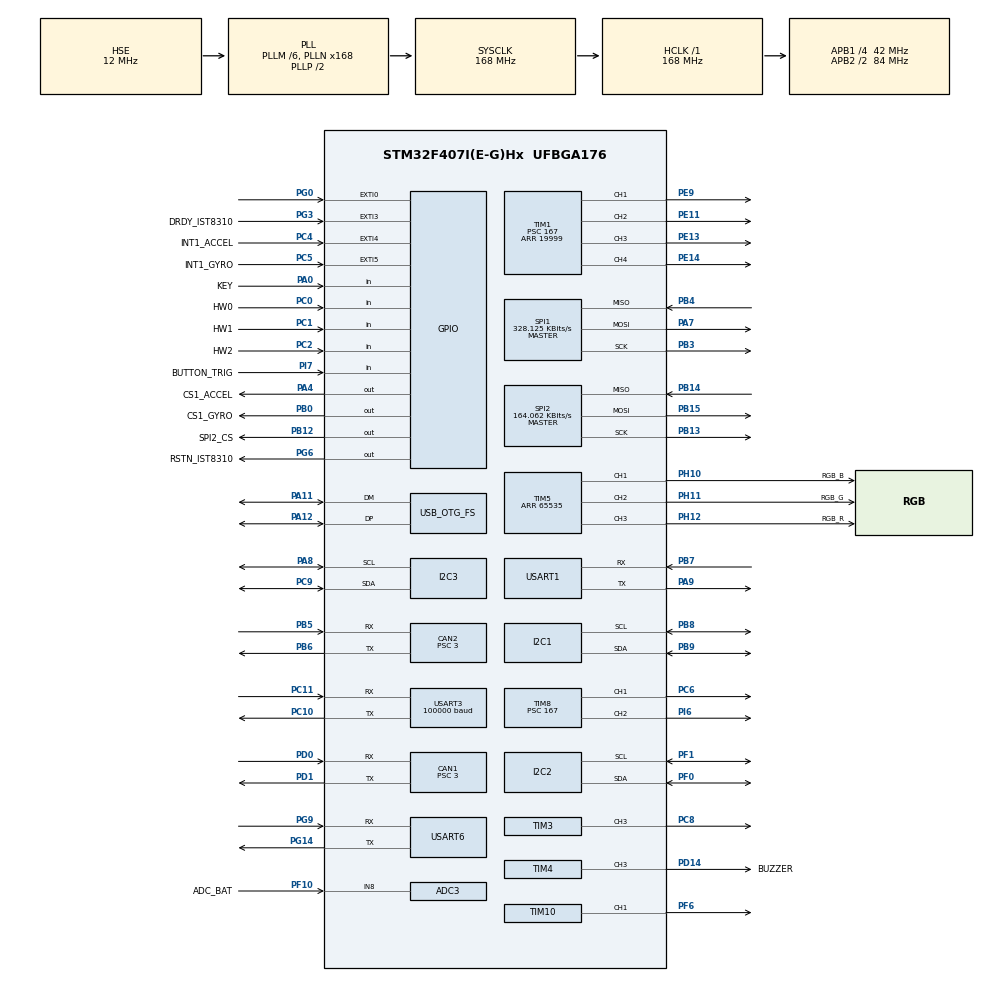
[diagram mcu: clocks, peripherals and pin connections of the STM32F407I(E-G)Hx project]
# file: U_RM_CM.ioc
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ADC1.Channel-0\#ChannelRegularConversion=ADC_CHANNEL_VREFINT
ADC1.ClockPrescaler=ADC_CLOCK_SYNC_PCLK_DIV6
ADC1.NbrOfConversionFlag=1
ADC1.Rank-0\#ChannelRegularConversion=1
ADC1.SamplingTime-0\#ChannelRegularConversion=ADC_SAMPLETIME_3CYCLES
ADC1.master=1
ADC3.Channel-0\#ChannelRegularConversion=ADC_CHANNEL_8
ADC3.ClockPrescaler=ADC_CLOCK_SYNC_PCLK_DIV6
ADC3.NbrOfConversionFlag=1
ADC3.Rank-0\#ChannelRegularConversion=1
ADC3.SamplingTime-0\#ChannelRegularConversion=ADC_SAMPLETIME_3CYCLES
CAN1.BS1=CAN_BS1_10TQ
CAN1.BS2=CAN_BS2_3TQ
CAN1.CalculateBaudRate=1000000
CAN1.CalculateTimeBit=1000
CAN1.CalculateTimeQuantum=71.42857142857143
CAN1.NART=ENABLE
CAN1.Prescaler=3
CAN2.BS1=CAN_BS1_10TQ
CAN2.BS2=CAN_BS2_3TQ
CAN2.CalculateBaudRate=1000000
CAN2.CalculateTimeBit=1000
CAN2.CalculateTimeQuantum=71.42857142857143
CAN2.NART=ENABLE
CAN2.Prescaler=3
Dma.I2C2_TX.2.Direction=DMA_MEMORY_TO_PERIPH
Dma.I2C2_TX.2.FIFOMode=DMA_FIFOMODE_DISABLE
Dma.I2C2_TX.2.Instance=DMA1_Stream7
Dma.I2C2_TX.2.MemDataAlignment=DMA_MDATAALIGN_BYTE
Dma.I2C2_TX.2.MemInc=DMA_MINC_ENABLE
Dma.I2C2_TX.2.Mode=DMA_NORMAL
Dma.I2C2_TX.2.PeriphDataAlignment=DMA_PDATAALIGN_BYTE
Dma.I2C2_TX.2.PeriphInc=DMA_PINC_DISABLE
Dma.I2C2_TX.2.Priority=DMA_PRIORITY_HIGH
Dma.Request0=SPI1_RX
Dma.Request1=SPI1_TX
Dma.Request2=I2C2_TX
Dma.Request3=USART1_TX
Dma.Request4=USART3_RX
Dma.Request5=USART6_RX
Dma.Request6=USART6_TX
Dma.SPI1_RX.0.Direction=DMA_PERIPH_TO_MEMORY
Dma.SPI1_RX.0.FIFOMode=DMA_FIFOMODE_DISABLE
Dma.SPI1_RX.0.Instance=DMA2_Stream2
Dma.SPI1_RX.0.MemDataAlignment=DMA_MDATAALIGN_BYTE
Dma.SPI1_RX.0.MemInc=DMA_MINC_ENABLE
Dma.SPI1_RX.0.Mode=DMA_NORMAL
Dma.SPI1_RX.0.PeriphDataAlignment=DMA_PDATAALIGN_BYTE
Dma.SPI1_RX.0.PeriphInc=DMA_PINC_DISABLE
Dma.SPI1_RX.0.Priority=DMA_PRIORITY_VERY_HIGH
Dma.SPI1_TX.1.Direction=DMA_MEMORY_TO_PERIPH
Dma.SPI1_TX.1.FIFOMode=DMA_FIFOMODE_DISABLE
Dma.SPI1_TX.1.Instance=DMA2_Stream3
Dma.SPI1_TX.1.MemDataAlignment=DMA_MDATAALIGN_BYTE
Dma.SPI1_TX.1.MemInc=DMA_MINC_ENABLE
Dma.SPI1_TX.1.Mode=DMA_NORMAL
Dma.SPI1_TX.1.PeriphDataAlignment=DMA_PDATAALIGN_BYTE
Dma.SPI1_TX.1.PeriphInc=DMA_PINC_DISABLE
Dma.SPI1_TX.1.Priority=DMA_PRIORITY_HIGH
Dma.USART1_TX.3.Direction=DMA_MEMORY_TO_PERIPH
Dma.USART1_TX.3.FIFOMode=DMA_FIFOMODE_DISABLE
Dma.USART1_TX.3.Instance=DMA2_Stream7
Dma.USART1_TX.3.MemDataAlignment=DMA_MDATAALIGN_BYTE
Dma.USART1_TX.3.MemInc=DMA_MINC_ENABLE
Dma.USART1_TX.3.Mode=DMA_NORMAL
Dma.USART1_TX.3.PeriphDataAlignment=DMA_PDATAALIGN_BYTE
Dma.USART1_TX.3.PeriphInc=DMA_PINC_DISABLE
Dma.USART1_TX.3.Priority=DMA_PRIORITY_MEDIUM
Dma.USART3_RX.4.Direction=DMA_PERIPH_TO_MEMORY
Dma.USART3_RX.4.FIFOMode=DMA_FIFOMODE_DISABLE
Dma.USART3_RX.4.Instance=DMA1_Stream1
Dma.USART3_RX.4.MemDataAlignment=DMA_MDATAALIGN_BYTE
Dma.USART3_RX.4.MemInc=DMA_MINC_ENABLE
Dma.USART3_RX.4.Mode=DMA_NORMAL
Dma.USART3_RX.4.PeriphDataAlignment=DMA_PDATAALIGN_BYTE
Dma.USART3_RX.4.PeriphInc=DMA_PINC_DISABLE
Dma.USART3_RX.4.Priority=DMA_PRIORITY_HIGH
Dma.USART6_RX.5.Direction=DMA_PERIPH_TO_MEMORY
Dma.USART6_RX.5.FIFOMode=DMA_FIFOMODE_DISABLE
Dma.USART6_RX.5.Instance=DMA2_Stream1
Dma.USART6_RX.5.MemDataAlignment=DMA_MDATAALIGN_BYTE
Dma.USART6_RX.5.MemInc=DMA_MINC_ENABLE
Dma.USART6_RX.5.Mode=DMA_NORMAL
Dma.USART6_RX.5.PeriphDataAlignment=DMA_PDATAALIGN_BYTE
Dma.USART6_RX.5.PeriphInc=DMA_PINC_DISABLE
Dma.USART6_RX.5.Priority=DMA_PRIORITY_HIGH
Dma.USART6_TX.6.Direction=DMA_MEMORY_TO_PERIPH
Dma.USART6_TX.6.FIFOMode=DMA_FIFOMODE_DISABLE
Dma.USART6_TX.6.Instance=DMA2_Stream6
Dma.USART6_TX.6.MemDataAlignment=DMA_MDATAALIGN_BYTE
Dma.USART6_TX.6.MemInc=DMA_MINC_ENABLE
Dma.USART6_TX.6.Mode=DMA_NORMAL
Dma.USART6_TX.6.PeriphDataAlignment=DMA_PDATAALIGN_BYTE
Dma.USART6_TX.6.PeriphInc=DMA_PINC_DISABLE
Dma.USART6_TX.6.Priority=DMA_PRIORITY_MEDIUM
FREERTOS.INCLUDE_eTaskGetState=1
FREERTOS.INCLUDE_pcTaskGetTaskName=1
FREERTOS.INCLUDE_uxTaskGetStackHighWaterMark=1
FREERTOS.INCLUDE_uxTaskGetStackHighWaterMark2=0
FREERTOS.INCLUDE_vTaskCleanUpResources=1
FREERTOS.INCLUDE_vTaskDelayUntil=1
FREERTOS.INCLUDE_xEventGroupSetBitFromISR=1
FREERTOS.INCLUDE_xQueueGetMutexHolder=1
FREERTOS.INCLUDE_xSemaphoreGetMutexHolder=1
FREERTOS.INCLUDE_xTaskAbortDelay=1
FREERTOS.INCLUDE_xTaskGetCurrentTaskHandle=1
FREERTOS.INCLUDE_xTaskGetHandle=1
FREERTOS.INCLUDE_xTimerPendFunctionCall=1
FREERTOS.Tasks01=test,0,128,test_tack,As weak,NULL,Dynamic,NULL,NULL
FREERTOS.configLIBRARY_LOWEST_INTERRUPT_PRIORITY=15
FREERTOS.configTOTAL_HEAP_SIZE=24576
FREERTOS.configUSE_TIMERS=1
I2C1.I2C_Mode=I2C_Fast
I2C2.I2C_Mode=I2C_Fast
I2C3.I2C_Mode=I2C_Fast
Mcu.Family=STM32F4
Mcu.Name=STM32F407I(E-G)Hx
Mcu.Package=UFBGA176
NVIC.CAN1_RX0_IRQn=true\:6\:0\:true\:false\:true\:true\:true\:true\:true
NVIC.CAN2_RX0_IRQn=true\:6\:0\:true\:false\:true\:true\:true\:true\:true
NVIC.DMA1_Stream1_IRQn=true\:5\:0\:false\:false\:false\:true\:false\:false\:true
NVIC.DMA1_Stream7_IRQn=true\:5\:0\:false\:false\:false\:true\:false\:true\:true
NVIC.DMA2_Stream1_IRQn=true\:5\:0\:false\:false\:true\:true\:false\:true\:true
NVIC.DMA2_Stream2_IRQn=true\:5\:0\:false\:false\:false\:true\:false\:true\:true
NVIC.DMA2_Stream3_IRQn=true\:5\:0\:false\:false\:false\:true\:false\:true\:true
NVIC.DMA2_Stream6_IRQn=true\:5\:0\:false\:false\:true\:true\:false\:true\:true
NVIC.DMA2_Stream7_IRQn=true\:5\:0\:false\:false\:true\:true\:false\:true\:true
NVIC.EXTI0_IRQn=true\:6\:0\:true\:false\:true\:true\:true\:true\:true
NVIC.EXTI3_IRQn=true\:5\:0\:true\:false\:true\:true\:true\:true\:true
NVIC.EXTI4_IRQn=true\:5\:0\:true\:false\:true\:true\:true\:true\:true
NVIC.EXTI9_5_IRQn=true\:5\:0\:true\:false\:true\:true\:true\:true\:true
NVIC.OTG_FS_IRQn=true\:5\:0\:false\:false\:true\:true\:true\:true\:true
NVIC.PriorityGroup=NVIC_PRIORITYGROUP_4
NVIC.USART1_IRQn=true\:5\:0\:false\:false\:true\:true\:true\:true\:true
NVIC.USART3_IRQn=true\:4\:0\:true\:false\:false\:false\:true\:true\:true
NVIC.USART6_IRQn=true\:5\:0\:false\:false\:false\:true\:true\:true\:true
PA0-WKUP.GPIO_Label=KEY
PA0-WKUP.GPIO_PuPd=GPIO_PULLUP
PA0-WKUP.Signal=GPIO_Input
PA11.Mode=Device_Only
PA11.Signal=USB_OTG_FS_DM
PA12.Mode=Device_Only
PA12.Signal=USB_OTG_FS_DP
PA13.Mode=Serial_Wire
PA13.Signal=SYS_JTMS-SWDIO
PA14.Mode=Serial_Wire
PA14.Signal=SYS_JTCK-SWCLK
PA4.GPIO_Label=CS1_ACCEL
PA4.GPIO_PuPd=GPIO_PULLUP
PA4.GPIO_Speed=GPIO_SPEED_FREQ_HIGH
PA4.PinState=GPIO_PIN_SET
PA4.Signal=GPIO_Output
PA7.GPIO_PuPd=GPIO_PULLUP
PA7.Mode=Full_Duplex_Master
PA7.Signal=SPI1_MOSI
PA8.GPIO_Pu=GPIO_PULLUP
PA8.Mode=I2C
PA8.Signal=I2C3_SCL
PA9.Mode=Asynchronous
PA9.Signal=USART1_TX
PB0.GPIO_Label=CS1_GYRO
PB0.GPIO_PuPd=GPIO_PULLUP
PB0.GPIO_Speed=GPIO_SPEED_FREQ_HIGH
PB0.PinState=GPIO_PIN_SET
PB0.Signal=GPIO_Output
PB12.GPIO_Label=SPI2_CS
PB12.GPIO_PuPd=GPIO_PULLUP
PB12.GPIO_Speed=GPIO_SPEED_FREQ_MEDIUM
PB12.PinState=GPIO_PIN_SET
PB12.Signal=GPIO_Output
PB13.GPIO_PuPd=GPIO_PULLUP
PB13.Mode=Full_Duplex_Master
PB13.Signal=SPI2_SCK
PB14.GPIO_PuPd=GPIO_PULLUP
PB14.Mode=Full_Duplex_Master
PB14.Signal=SPI2_MISO
PB15.GPIO_PuPd=GPIO_PULLUP
PB15.Mode=Full_Duplex_Master
PB15.Signal=SPI2_MOSI
PB3.GPIO_PuPd=GPIO_PULLUP
PB3.Mode=Full_Duplex_Master
PB3.Signal=SPI1_SCK
PB4.GPIO_PuPd=GPIO_PULLUP
PB4.Mode=Full_Duplex_Master
PB4.Signal=SPI1_MISO
PB5.Mode=CAN_Activate
PB5.Signal=CAN2_RX
PB6.Mode=CAN_Activate
PB6.Signal=CAN2_TX
PB7.Mode=Asynchronous
PB7.Signal=USART1_RX
PB8.GPIO_Pu=GPIO_PULLUP
PB8.Mode=I2C
PB8.Signal=I2C1_SCL
PB9.GPIO_Pu=GPIO_PULLUP
PB9.Mode=I2C
PB9.Signal=I2C1_SDA
PC0.GPIO_Label=HW0
PC0.Signal=GPIO_Input
PC1.GPIO_Label=HW1
PC1.Signal=GPIO_Input
PC10.Mode=Asynchronous
PC10.Signal=USART3_TX
PC11.Mode=Asynchronous
PC11.Signal=USART3_RX
PC2.GPIO_Label=HW2
PC2.Signal=GPIO_Input
PC4.GPIO_Label=INT1_ACCEL
PC4.GPIO_PuPd=GPIO_PULLUP
PC4.Signal=GPXTI4
PC5.GPIO_Label=INT1_GYRO
PC5.GPIO_PuPd=GPIO_PULLUP
PC5.Signal=GPXTI5
PC6.GPIO_PuPd=GPIO_PULLUP
PC6.GPIO_Speed=GPIO_SPEED_FREQ_HIGH
PC6.Signal=S_TIM8_CH1
PC8.GPIO_PuPd=GPIO_PULLUP
PC8.GPIO_Speed=GPIO_SPEED_FREQ_HIGH
PC8.Signal=S_TIM3_CH3
PC9.GPIO_Pu=GPIO_PULLUP
PC9.Mode=I2C
PC9.Signal=I2C3_SDA
PD0.Mode=CAN_Activate
PD0.Signal=CAN1_RX
PD1.Mode=CAN_Activate
PD1.Signal=CAN1_TX
PD14.GPIO_Label=BUZZER
PD14.GPIO_PuPd=GPIO_PULLUP
PD14.GPIO_Speed=GPIO_SPEED_FREQ_VERY_HIGH
PD14.Signal=S_TIM4_CH3
PE11.GPIO_PuPd=GPIO_PULLUP
PE11.GPIO_Speed=GPIO_SPEED_FREQ_HIGH
PE11.Signal=S_TIM1_CH2
PE13.GPIO_PuPd=GPIO_PULLUP
PE13.GPIO_Speed=GPIO_SPEED_FREQ_HIGH
PE13.Signal=S_TIM1_CH3
PE14.GPIO_PuPd=GPIO_PULLUP
PE14.GPIO_Speed=GPIO_SPEED_FREQ_HIGH
PE14.Signal=S_TIM1_CH4
PE9.GPIO_PuPd=GPIO_PULLUP
PE9.GPIO_Speed=GPIO_SPEED_FREQ_HIGH
PE9.Signal=S_TIM1_CH1
PF0.GPIO_Pu=GPIO_PULLUP
PF0.Mode=I2C
PF0.Signal=I2C2_SDA
PF1.GPIO_Pu=GPIO_PULLUP
PF1.Mode=I2C
PF1.Signal=I2C2_SCL
PF10.GPIO_Label=ADC_BAT
PF10.Mode=IN8
PF10.Signal=ADC3_IN8
PF6.GPIO_PuPd=GPIO_PULLUP
PF6.GPIO_Speed=GPIO_SPEED_FREQ_HIGH
PF6.Signal=S_TIM10_CH1
PG0.GPIO_PuPd=GPIO_PULLUP
PG0.Signal=GPXTI0
PG14.Mode=Asynchronous
PG14.Signal=USART6_TX
PG3.GPIO_Label=DRDY_IST8310
PG3.GPIO_PuPd=GPIO_PULLUP
PG3.Signal=GPXTI3
PG6.GPIO_Label=RSTN_IST8310
PG6.GPIO_PuPd=GPIO_PULLUP
PG6.GPIO_Speed=GPIO_SPEED_FREQ_MEDIUM
PG6.PinState=GPIO_PIN_SET
PG6.Signal=GPIO_Output
PG9.Mode=Asynchronous
PG9.Signal=USART6_RX
PH0-OSC_IN.Mode=HSE-External-Oscillator
PH0-OSC_IN.Signal=RCC_OSC_IN
PH1-OSC_OUT.Mode=HSE-External-Oscillator
PH1-OSC_OUT.Signal=RCC_OSC_OUT
PH10.GPIO_Label=RGB_B
PH10.GPIO_ModeDefaultPP=GPIO_MODE_AF_PP
PH10.GPIO_PuPd=GPIO_PULLUP
PH10.GPIO_Speed=GPIO_SPEED_FREQ_HIGH
PH10.Signal=S_TIM5_CH1
PH11.GPIO_Label=RGB_G
PH11.GPIO_PuPd=GPIO_PULLUP
PH11.GPIO_Speed=GPIO_SPEED_FREQ_HIGH
PH11.Signal=S_TIM5_CH2
PH12.GPIO_Label=RGB_R
PH12.GPIO_PuPd=GPIO_PULLUP
PH12.GPIO_Speed=GPIO_SPEED_FREQ_HIGH
PH12.Signal=S_TIM5_CH3
PI6.GPIO_PuPd=GPIO_PULLUP
PI6.GPIO_Speed=GPIO_SPEED_FREQ_HIGH
PI6.Signal=S_TIM8_CH2
PI7.GPIO_Label=BUTTON_TRIG
PI7.GPIO_PuPd=GPIO_PULLUP
PI7.Signal=GPIO_Input
ProjectManager.HeapSize=0x200
ProjectManager.StackSize=0x400
ProjectManager.TargetToolchain=MDK-ARM V5.32
RCC.48MHZClocksFreq_Value=48000000
RCC.AHBFreq_Value=168000000
RCC.APB1CLKDivider=RCC_HCLK_DIV4
RCC.APB1Freq_Value=42000000
RCC.APB1TimFreq_Value=84000000
RCC.APB2CLKDivider=RCC_HCLK_DIV2
RCC.APB2Freq_Value=84000000
RCC.APB2TimFreq_Value=168000000
RCC.CortexFreq_Value=168000000
RCC.EnbaleCSS=true
RCC.HCLKFreq_Value=168000000
RCC.HSE_VALUE=12000000
RCC.HSI_VALUE=16000000
RCC.LSE_VALUE=32768
RCC.PLLM=6
RCC.PLLN=168
RCC.PLLQ=7
RCC.RCC_RTC_Clock_SourceVirtual=RCC_RTCCLKSOURCE_HSE_DIV30
RCC.RCC_RTC_Clock_Source_FROM_HSE=RCC_RTCCLKSOURCE_HSE_DIV30
RCC.SYSCLKFreq_VALUE=168000000
RCC.SYSCLKSource=RCC_SYSCLKSOURCE_PLLCLK
RCC.VCOOutputFreq_Value=336000000
RTC.AsynchPrediv=124
RTC.SynchPrediv=3199
SH.S_TIM10_CH1.0=TIM10_CH1,PWM Generation1 CH1
SH.S_TIM1_CH1.0=TIM1_CH1,PWM Generation1 CH1
SH.S_TIM1_CH2.0=TIM1_CH2,PWM Generation2 CH2
SH.S_TIM1_CH3.0=TIM1_CH3,PWM Generation3 CH3
SH.S_TIM1_CH4.0=TIM1_CH4,PWM Generation4 CH4
SH.S_TIM3_CH3.0=TIM3_CH3,PWM Generation3 CH3
SH.S_TIM4_CH3.0=TIM4_CH3,PWM Generation3 CH3
SH.S_TIM5_CH1.0=TIM5_CH1,PWM Generation1 CH1
SH.S_TIM5_CH2.0=TIM5_CH2,PWM Generation2 CH2
SH.S_TIM5_CH3.0=TIM5_CH3,PWM Generation3 CH3
SH.S_TIM8_CH1.0=TIM8_CH1,PWM Generation1 CH1
SH.S_TIM8_CH2.0=TIM8_CH2,PWM Generation2 CH2
SPI1.BaudRatePrescaler=SPI_BAUDRATEPRESCALER_256
SPI1.CLKPhase=SPI_PHASE_2EDGE
SPI1.CLKPolarity=SPI_POLARITY_HIGH
SPI1.CalculateBaudRate=328.125 KBits/s
SPI1.Direction=SPI_DIRECTION_2LINES
SPI1.Mode=SPI_MODE_MASTER
SPI1.VirtualType=VM_MASTER
SPI2.BaudRatePrescaler=SPI_BAUDRATEPRESCALER_256
SPI2.CLKPhase=SPI_PHASE_2EDGE
SPI2.CLKPolarity=SPI_POLARITY_HIGH
SPI2.CalculateBaudRate=164.062 KBits/s
SPI2.Direction=SPI_DIRECTION_2LINES
SPI2.Mode=SPI_MODE_MASTER
SPI2.VirtualType=VM_MASTER
TIM1.Channel-PWM\ Generation1\ CH1=TIM_CHANNEL_1
TIM1.Channel-PWM\ Generation2\ CH2=TIM_CHANNEL_2
TIM1.Channel-PWM\ Generation3\ CH3=TIM_CHANNEL_3
TIM1.Channel-PWM\ Generation4\ CH4=TIM_CHANNEL_4
TIM1.Period=19999
TIM1.Prescaler=167
TIM1.Pulse-PWM\ Generation1\ CH1=1000
TIM1.Pulse-PWM\ Generation2\ CH2=1000
TIM1.Pulse-PWM\ Generation3\ CH3=1000
TIM1.Pulse-PWM\ Generation4\ CH4=1000
TIM10.Channel=TIM_CHANNEL_1
TIM10.Period=4999
TIM3.Channel-PWM\ Generation3\ CH3=TIM_CHANNEL_3
TIM3.Period=8399
TIM4.Channel-PWM\ Generation3\ CH3=TIM_CHANNEL_3
TIM4.Prescaler=167
TIM5.Channel-PWM\ Generation1\ CH1=TIM_CHANNEL_1
TIM5.Channel-PWM\ Generation2\ CH2=TIM_CHANNEL_2
TIM5.Channel-PWM\ Generation3\ CH3=TIM_CHANNEL_3
TIM5.Period=65535
TIM8.Channel-PWM\ Generation1\ CH1=TIM_CHANNEL_1
TIM8.Channel-PWM\ Generation2\ CH2=TIM_CHANNEL_2
TIM8.Period=19999
TIM8.Prescaler=167
TIM8.Pulse-PWM\ Generation1\ CH1=1000
TIM8.Pulse-PWM\ Generation2\ CH2=1500
USART1.VirtualMode=VM_ASYNC
USART3.BaudRate=100000
USART3.VirtualMode=VM_ASYNC
USART6.VirtualMode=VM_ASYNC
USB_DEVICE.CLASS_NAME_FS=CDC
USB_DEVICE.VirtualMode-CDC_FS=Cdc
USB_DEVICE.VirtualModeFS=Cdc_FS
USB_OTG_FS.VirtualMode=Device_Only
VP_ADC1_TempSens_Input.Mode=IN-TempSens
VP_ADC1_Vref_Input.Mode=IN-Vrefint
VP_CRC_VS_CRC.Mode=CRC_Activate
VP_FREERTOS_VS_CMSIS_V1.Mode=CMSIS_V1
VP_RNG_VS_RNG.Mode=RNG_Activate
VP_RTC_VS_RTC_Activate.Mode=RTC_Enabled
VP_TIM10_VS_ClockSourceINT.Mode=Enable_Timer
VP_TIM1_VS_ClockSourceINT.Mode=Internal
VP_TIM3_VS_ClockSourceINT.Mode=Internal
VP_TIM4_VS_ClockSourceINT.Mode=Internal
VP_TIM5_VS_ClockSourceINT.Mode=Internal
VP_TIM8_VS_ClockSourceINT.Mode=Internal
VP_USB_DEVICE_VS_USB_DEVICE_CDC_FS.Mode=CDC_FS
board=custom

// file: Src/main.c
/* USER CODE BEGIN Header */
/**
 ******************************************************************************
 * @file           : main.c
 * @brief          : Main program body
 ******************************************************************************
 * @attention
 *
 * Copyright (c) 2023 STMicroelectronics.
 * All rights reserved.
 *
 * This software is licensed under terms that can be found in the LICENSE file
 * in the root directory of this software component.
 * If no LICENSE file comes with this software, it is provided AS-IS.
 *
 ******************************************************************************
 */
/* USER CODE END Header */
#include "main.h"
#include "cmsis_os.h"
#include "adc.h"
#include "can.h"
#include "crc.h"
#include "dma.h"
#include "i2c.h"
#include "rng.h"
#include "rtc.h"
#include "spi.h"
#include "tim.h"
#include "usart.h"
#include "usb_device.h"
#include "gpio.h"

/* USER CODE BEGIN Includes */
#include "user_c.h"
/* USER CODE END Includes */

/* USER CODE BEGIN PTD */
int fputc(int c, FILE * f)
{
	while((USART1->SR&0X40)==0);
	USART1->DR = (uint8_t)c;
	return c;
}
/* USER CODE END PTD */

void SystemClock_Config(void);
void MX_FREERTOS_Init(void);

int main(void)
{

  /* MCU Configuration--------------------------------------------------------*/

  /* Reset of all peripherals, Initializes the Flash interface and the Systick. */
  HAL_Init();

  /* Configure the system clock */
  SystemClock_Config();

  /* Initialize all configured peripherals */
  MX_GPIO_Init();
  MX_DMA_Init();
  MX_ADC1_Init();
  MX_ADC3_Init();
  MX_CAN1_Init();
  MX_CRC_Init();
  MX_I2C1_Init();
  MX_I2C2_Init();
  MX_I2C3_Init();
  MX_RNG_Init();
  MX_RTC_Init();
  MX_SPI1_Init();
  MX_SPI2_Init();
  MX_TIM1_Init();
  MX_TIM3_Init();
  MX_TIM4_Init();
  MX_TIM5_Init();
  MX_TIM8_Init();
  MX_TIM10_Init();
  MX_CAN2_Init();
	MX_USART6_UART_Init();
	MX_USART3_UART_Init();
  MX_USART1_UART_Init();

  /* USER CODE BEGIN 2 */
	can_filter_init();

	delay_init();
	//校准
	cali_param_init();

	remote_control_init();

	usart1_tx_dma_init();

  /* USER CODE END 2 */

  /* Call init function for freertos objects (in freertos.c) */
  MX_FREERTOS_Init();

  /* Start scheduler */
  osKernelStart();
  /* We should never get here as control is now taken by the scheduler */
  /* Infinite loop */
    while (1) {

    /* USER CODE BEGIN 3 */
					CAN_cmd_chassis(1000, 1000,1000, 1000);
    }
  /* USER CODE END 3 */
}

void SystemClock_Config(void)
{
  RCC_OscInitTypeDef RCC_OscInitStruct = {0};
  RCC_ClkInitTypeDef RCC_ClkInitStruct = {0};

  /** Configure the main internal regulator output voltage
  */
  __HAL_RCC_PWR_CLK_ENABLE();
  __HAL_PWR_VOLTAGESCALING_CONFIG(PWR_REGULATOR_VOLTAGE_SCALE1);

  /** Initializes the RCC Oscillators according to the specified parameters
  * in the RCC_OscInitTypeDef structure.
  */
  RCC_OscInitStruct.OscillatorType = RCC_OSCILLATORTYPE_HSE;
  RCC_OscInitStruct.HSEState = RCC_HSE_ON;
  RCC_OscInitStruct.PLL.PLLState = RCC_PLL_ON;
  RCC_OscInitStruct.PLL.PLLSource = RCC_PLLSOURCE_HSE;
  RCC_OscInitStruct.PLL.PLLM = 6;
  RCC_OscInitStruct.PLL.PLLN = 168;
  RCC_OscInitStruct.PLL.PLLP = RCC_PLLP_DIV2;
  RCC_OscInitStruct.PLL.PLLQ = 7;
  if (HAL_RCC_OscConfig(&RCC_OscInitStruct) != HAL_OK)
  {
    Error_Handler();
  }

  /** Initializes the CPU, AHB and APB buses clocks
  */
  RCC_ClkInitStruct.ClockType = RCC_CLOCKTYPE_HCLK|RCC_CLOCKTYPE_SYSCLK
                              |RCC_CLOCKTYPE_PCLK1|RCC_CLOCKTYPE_PCLK2;
  RCC_ClkInitStruct.SYSCLKSource = RCC_SYSCLKSOURCE_PLLCLK;
  RCC_ClkInitStruct.AHBCLKDivider = RCC_SYSCLK_DIV1;
  RCC_ClkInitStruct.APB1CLKDivider = RCC_HCLK_DIV4;
  RCC_ClkInitStruct.APB2CLKDivider = RCC_HCLK_DIV2;

  if (HAL_RCC_ClockConfig(&RCC_ClkInitStruct, FLASH_LATENCY_5) != HAL_OK)
  {
    Error_Handler();
  }

  /** Enables the Clock Security System
  */
  HAL_RCC_EnableCSS();
}

void Error_Handler(void)
{
    __disable_irq();
    while (1) {
    }
}

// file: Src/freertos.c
/* USER CODE BEGIN Header */
/**
 ******************************************************************************
 * File Name          : freertos.c
 * Description        : Code for freertos applications
 ******************************************************************************
 * @attention
 *
 * Copyright (c) 2023 STMicroelectronics.
 * All rights reserved.
 *
 * This software is licensed under terms that can be found in the LICENSE file
 * in the root directory of this software component.
 * If no LICENSE file comes with this software, it is provided AS-IS.
 *
 ******************************************************************************
 */
/* USER CODE END Header */

#include "FreeRTOS.h"
#include "task.h"
#include "main.h"
#include "cmsis_os.h"

/* USER CODE BEGIN Includes */
#include "user_c.h"
/* USER CODE END Includes */

/* USER CODE BEGIN PTD */
// 任务ID 指针
osThreadId user_tset_task_handle;

osThreadId usb_task_handle;
osThreadId battery_voltage_handle;
osThreadId led_RGB_flow_handle;
osThreadId imuTaskHandle;

osThreadId chassisTaskHandle;
osThreadId calibrate_tast_handle;

osThreadId gimbalTaskHandle;
osThreadId servo_task_handle;

osThreadId referee_task_handle;
osThreadId detect_handle;

/*绘图*/
osThreadId draw_handle;
/* USER CODE END PTD */

osThreadId testHandle;

void test_tack(void const * argument);

extern void MX_USB_DEVICE_Init(void);
void MX_FREERTOS_Init(void); /* (MISRA C 2004 rule 8.1) */

/* GetIdleTaskMemory prototype (linked to static allocation support) */
void vApplicationGetIdleTaskMemory( StaticTask_t **ppxIdleTaskTCBBuffer, StackType_t **ppxIdleTaskStackBuffer, uint32_t *pulIdleTaskStackSize );

/* GetTimerTaskMemory prototype (linked to static allocation support) */
void vApplicationGetTimerTaskMemory( StaticTask_t **ppxTimerTaskTCBBuffer, StackType_t **ppxTimerTaskStackBuffer, uint32_t *pulTimerTaskStackSize );

/* USER CODE BEGIN GET_IDLE_TASK_MEMORY */
static StaticTask_t xIdleTaskTCBBuffer;
static StackType_t xIdleStack[configMINIMAL_STACK_SIZE];

void vApplicationGetIdleTaskMemory(StaticTask_t **ppxIdleTaskTCBBuffer, StackType_t **ppxIdleTaskStackBuffer, uint32_t *pulIdleTaskStackSize)
{
  *ppxIdleTaskTCBBuffer = &xIdleTaskTCBBuffer;
  *ppxIdleTaskStackBuffer = &xIdleStack[0];
  *pulIdleTaskStackSize = configMINIMAL_STACK_SIZE;
  /* place for user code */
}
/* USER CODE END GET_IDLE_TASK_MEMORY */

/* USER CODE BEGIN GET_TIMER_TASK_MEMORY */
static StaticTask_t xTimerTaskTCBBuffer;
static StackType_t xTimerStack[configTIMER_TASK_STACK_DEPTH];

void vApplicationGetTimerTaskMemory(StaticTask_t **ppxTimerTaskTCBBuffer, StackType_t **ppxTimerTaskStackBuffer, uint32_t *pulTimerTaskStackSize)
{
  *ppxTimerTaskTCBBuffer = &xTimerTaskTCBBuffer;
  *ppxTimerTaskStackBuffer = &xTimerStack[0];
  *pulTimerTaskStackSize = configTIMER_TASK_STACK_DEPTH;
  /* place for user code */
}
/* USER CODE END GET_TIMER_TASK_MEMORY */

void MX_FREERTOS_Init(void) {

  /* Create the thread(s) */
  /* definition and creation of test */
//  osThreadDef(test, test_tack, osPriorityNormal, 0, 128);
//  testHandle = osThreadCreate(osThread(test), NULL);

  /* USER CODE BEGIN RTOS_THREADS */
  /* add threads, ... */

  //  // usb数据发�?�任�?
  osThreadDef(USBTask, usb_task, osPriorityNormal, 0, 128);
  usb_task_handle = osThreadCreate(osThread(USBTask), NULL);

	//У������������ֹ��������ͻȻ��������У�����
  //У������
  osThreadDef(cali, calibrate_task, osPriorityNormal, 0, 512);
  calibrate_tast_handle = osThreadCreate(osThread(cali), NULL);

  //�������
  osThreadDef(DETECT, detect_task, osPriorityNormal, 0, 256);
  detect_handle = osThreadCreate(osThread(DETECT), NULL);

  //����ϵͳ
  osThreadDef(referee, referee_usart_task, osPriorityNormal, 0, 256);
  referee_task_handle = osThreadCreate(osThread(referee), NULL);

  //����UI��������
   osThreadDef(draw, draw_UI_task, osPriorityNormal, 0, 256);
   draw_handle = osThreadCreate(osThread(draw), NULL);

//  //��Դ�����ͼ����Դ�ٷֱ�
//  osThreadDef(BATTERY_VOLTAGE, battery_voltage_task, osPriorityNormal, 0, 128);
//  battery_voltage_handle = osThreadCreate(osThread(BATTERY_VOLTAGE), NULL);

  //led RGB����
  osThreadDef(led, led_RGB_flow_task, osPriorityNormal, 0, 128);
  led_RGB_flow_handle = osThreadCreate(osThread(led), NULL);

  //imu����
  osThreadDef(imuTask, INS_task, osPriorityRealtime, 0, 1024);
  imuTaskHandle = osThreadCreate(osThread(imuTask), NULL);

//  //��������
  osThreadDef(ChassisTask, chassis_task, osPriorityAboveNormal, 0, 512);
  chassisTaskHandle = osThreadCreate(osThread(ChassisTask), NULL);

  //��̨����
  osThreadDef(gimbalTask, gimbal_task, osPriorityHigh, 0, 512);
  gimbalTaskHandle = osThreadCreate(osThread(gimbalTask), NULL);

// ��������������Ŀǰ���о�δʹ�ã�����ɾ��

//  //�������
//	osThreadDef(SERVO, servo_task, osPriorityNormal, 0, 128);
//	servo_task_handle = osThreadCreate(osThread(SERVO), NULL);

  //  //��������
  //  osThreadDef(UserTest_Task, usere_test_task, osPriorityNormal, 0, 1024);
  //  usb_task_handle = osThreadCreate(osThread(UserTest_Task), NULL);

  /* USER CODE END RTOS_THREADS */

}

__weak void test_tack(void const * argument)
{
  /* init code for USB_DEVICE */
  MX_USB_DEVICE_Init();
  for (;;)
  {
    osDelay(1);
  }
}
